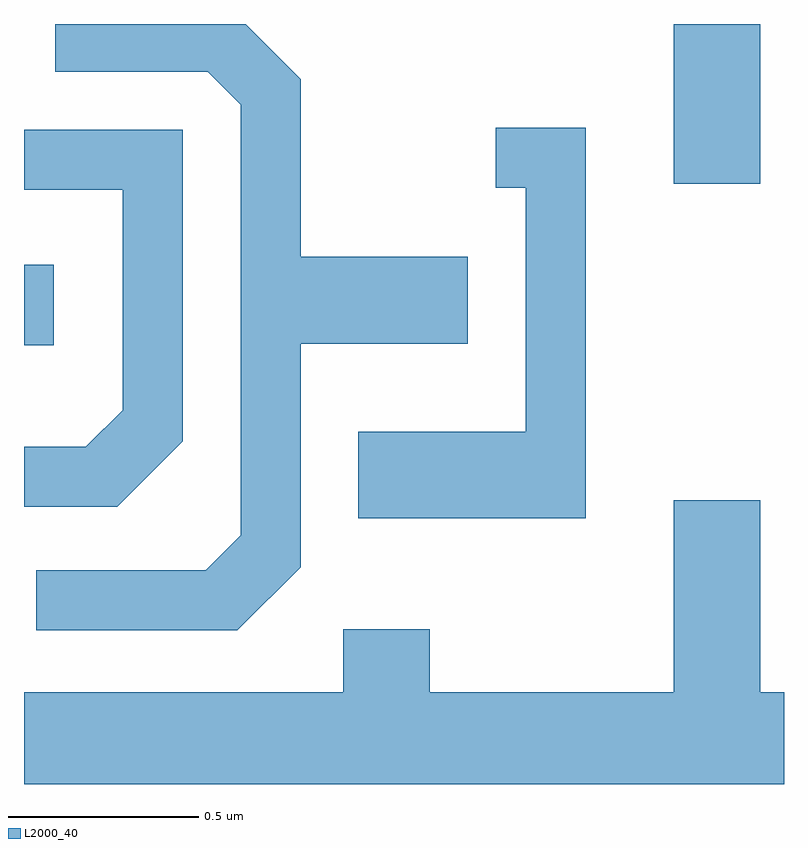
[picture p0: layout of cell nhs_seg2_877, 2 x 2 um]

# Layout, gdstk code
import gdstk
lib = gdstk.Library(unit=1e-6, precision=1e-09)
def R(c, l, rs):  # rectangles x0, y0, x1, y1
    for r in rs: c.add(gdstk.rectangle(r[:2], r[2:], *l))
def P(c, l, *ps):  # polygons
    for p in ps: c.add(gdstk.Polygon(p, *l))
L2000_40 = (2000, 40)

nhs_seg2_877 = lib.new_cell('nhs_seg2_877')
R(nhs_seg2_877, L2000_40, [(191.611,1033.956,191.689,1034.169), (193.321,1034.381,193.549,1034.802)])
P(nhs_seg2_877, L2000_40, [(192.339,1033.373),(192.339,1033.961),(192.779,1033.961),(192.779,1034.189),(192.339,1034.189),(192.339,1034.657),(192.194,1034.802),(191.693,1034.802),(191.693,1034.676),(192.094,1034.676),(192.181,1034.589),(192.181,1033.457),(192.089,1033.364),(191.643,1033.364),(191.643,1033.206),(192.172,1033.206)],
  [(193.089,1034.529),(192.853,1034.529),(192.853,1034.371),(192.931,1034.371),(192.931,1033.729),(192.491,1033.729),(192.491,1033.501),(193.089,1033.501)],
  [(192.029,1033.704),(192.029,1034.524),(191.611,1034.524),(191.611,1034.366),(191.871,1034.366),(191.871,1033.786),(191.774,1033.689),(191.611,1033.689),(191.611,1033.531),(191.857,1033.531)],
  [(193.611,1033.044),(193.549,1033.044),(193.549,1033.549),(193.321,1033.549),(193.321,1033.044),(192.679,1033.044),(192.679,1033.209),(192.451,1033.209),(192.451,1033.044),(191.611,1033.044),(191.611,1032.802),(193.611,1032.802)])

lib.write_gds('nhs_seg2_877.gds')
